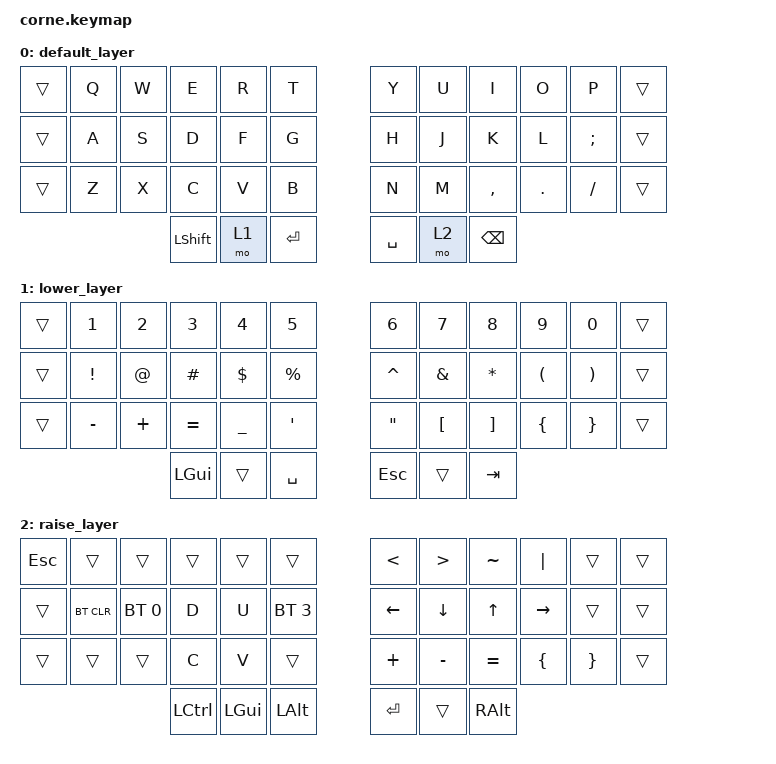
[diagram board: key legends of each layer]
/*
 * Copyright (c) 2020 The ZMK Contributors
 *
 * SPDX-License-Identifier: MIT
 */

#include <behaviors.dtsi>
#include <dt-bindings/zmk/keys.h>
#include <dt-bindings/zmk/bt.h>

/ {
        keymap {
                compatible = "zmk,keymap";

                default_layer {
// -----------------------------------------------------------------------------------------
// |  TAB |  Q  |  W  |  E  |  R  |  T  |   |  Y  |  U   |  I  |  O  |  P  |
// | CTRL |  A  |  S  |  D  |  F  |  G  |   |  H  |  J   |  K  |  L  |  ;  |
// | SHFT |  Z  |  X  |  C  |  V  |  B  |   |  N  |  M   |  ,  |  .  |  /  |
//                    | LSHFT | LWR | SPC |   | ENT | RSE  | BACK |
                        bindings = <
   &trans &kp Q &kp W &kp E &kp R &kp T   &kp Y &kp U  &kp I     &kp O   &kp P    &trans    
   &trans &kp A &kp S &kp D &kp F &kp G   &kp H &kp J  &kp K     &kp L   &kp SEMI &trans
   &trans &kp Z &kp X &kp C &kp V &kp B   &kp N &kp M  &kp COMMA &kp DOT &kp FSLH &trans
                  &kp LSHFT &mo 1 &kp RET   &kp SPACE &mo 2 &kp BSPC
                        >;
                };
                lower_layer {
// -----------------------------------------------------------------------------------------
// |  TAB |  1  |  2  |  3  |  4  |  5  |   |  6  |  7  |  8  |  9  |  0  | 
// | BTCLR|  !  |  @  |  #  |  $  |  %  |   |  ^  |  &  |  *  |  (  |  )  |
// | SHFT |  -  |  +  |  =  |  _  |  '  |   |  |  |  [   | ]    |  {   | }    |
//                    | GUI |     | SPC |   | ESC |     | TAB |
                        bindings = <
  &trans &kp N1       &kp N2       &kp N3       &kp N4       &kp N5         &kp N6         &kp N7    &kp N8     &kp N9    &kp N0   &trans   
  &trans &kp EXCL     &kp AT       &kp HASH     &kp DLLR     &kp PRCNT      &kp CARET      &kp AMPS  &kp ASTRK  &kp LPAR  &kp RPAR &trans
  &trans &kp MINUS    &kp PLUS     &kp EQUAL    &kp UNDER    &kp SQT        &kp DQT       &kp LBKT  &kp RBKT   &kp LBRC  &kp RBRC &trans
                                    &kp LGUI     &trans       &kp SPACE      &kp ESC  &trans   &kp TAB
                        >;
                };

                raise_layer {
// -----------------------------------------------------------------------------------------
// |  TAB |  !  |  @  |  #  |  $  |  %  |   |  <  |  >  |  *  |  (  |  )  | BSPC |
// | CTRL |     |     |     |     |     |   | LEFT| DOWN|  UP |RIGHT|  \  |  `   |
// | SHFT |     |     |     |     |     |   |  _  |  +  |  {  |  }  | "|" |  ~   |
//                    | GUI |     | SPC |   | ENT |     | ALT |
                        bindings = <
    &kp ESC  &trans     &trans       &trans       &trans       &trans          &kp LT    &kp GT   &kp TILDE &kp PIPE  &trans &trans
    &trans  &bt BT_CLR &bt BT_SEL 0 &kp D        &kp U        &bt BT_SEL 3    &kp LEFT     &kp DOWN    &kp UP     &kp RIGHT     &trans &trans
    &trans  &trans     &trans       &kp C        &kp V       &trans          &kp PLUS  &kp MINUS &kp EQUAL    &kp LBRC &kp RBRC &trans
                             &kp LCTRL &kp LGUI  &kp LALT   &kp RET   &trans    &kp RALT
                        >;
                };
        };
};
